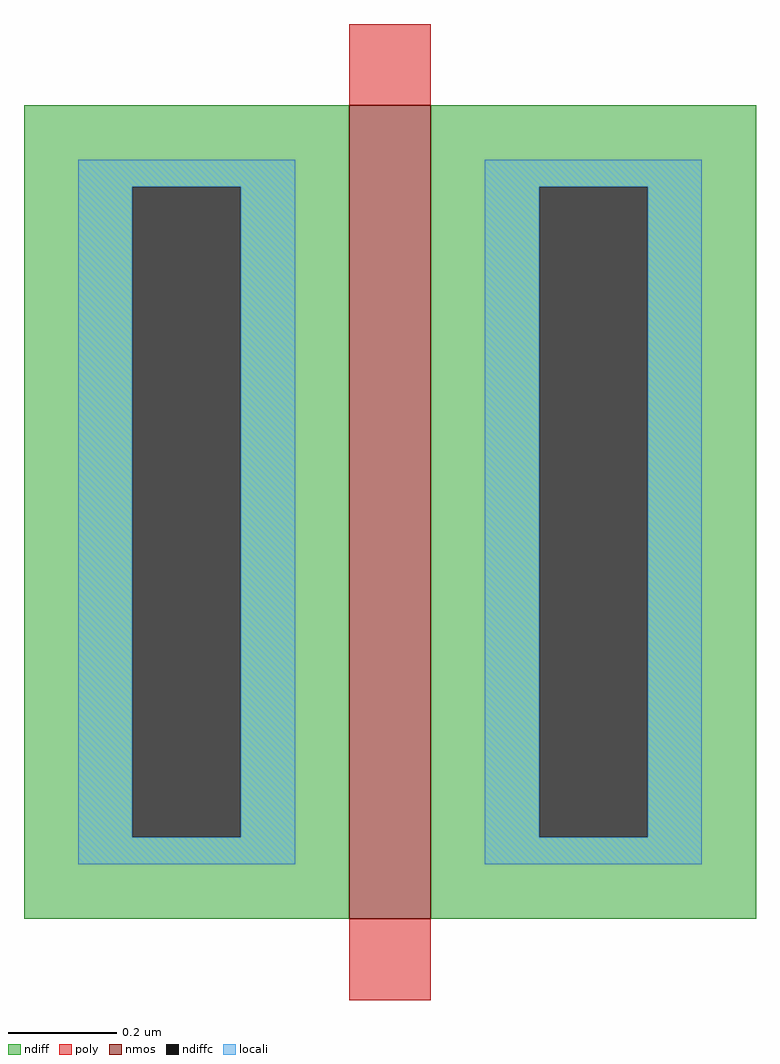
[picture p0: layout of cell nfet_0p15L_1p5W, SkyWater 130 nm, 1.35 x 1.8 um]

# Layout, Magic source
magic
tech sky130A
<< nmos >>
rect -15 -10 0 140
<< ndiff >>
rect -75 125 -15 140
rect -75 5 -55 125
rect -35 5 -15 125
rect -75 -10 -15 5
rect 0 125 60 140
rect 0 5 20 125
rect 40 5 60 125
rect 0 -10 60 5
<< ndiffc >>
rect -55 5 -35 125
rect 20 5 40 125
<< poly >>
rect -15 140 0 155
rect -15 -25 0 -10
<< locali >>
rect -65 125 -25 130
rect -65 5 -55 125
rect -35 5 -25 125
rect -65 0 -25 5
rect 10 125 50 130
rect 10 5 20 125
rect 40 5 50 125
rect 10 0 50 5
<< end >>
